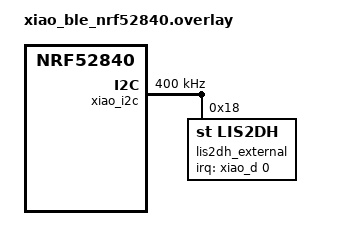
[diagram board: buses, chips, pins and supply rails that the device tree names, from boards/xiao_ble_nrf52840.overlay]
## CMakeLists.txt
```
# Copyright The Zephyr Project Contributors
# SPDX-License-Identifier: Apache-2.0

cmake_minimum_required(VERSION 3.28.0)

find_package(Zephyr REQUIRED HINTS "$ENV{ZEPHYR_BASE}")
project(lis2dh_fifo)

target_sources(app PRIVATE src/main.c)
```

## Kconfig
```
# Copyright The Zephyr Project Contributors
# SPDX-License-Identifier: Apache-2.0

source "Kconfig.zephyr"

menu "LIS2DH FIFO sample"

config LIS2DH_FIFO_HW_TEST
	bool "Enable the finite hardware FIFO self-test"
	help
	  Validate decoded frame counts and timestamp ordering while the sample
	  runs. The test prints PASS after ten valid FIFO batches.

endmenu
```

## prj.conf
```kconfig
# Copyright The Zephyr Project Contributors
# SPDX-License-Identifier: Apache-2.0

CONFIG_SENSOR=y
CONFIG_SENSOR_ASYNC_API=y
CONFIG_LIS2DH_STREAM=y
CONFIG_LIS2DH_TRIGGER_GLOBAL_THREAD=y
CONFIG_CONSOLE=y
CONFIG_PRINTK=y
CONFIG_CBPRINTF_FP_SUPPORT=y
# The HOLYIOT-25008 sample only uses LIS2DH. Its SoC has no nRF TEMP peripheral.
CONFIG_TEMP_NRF5=n
```

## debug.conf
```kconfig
# Copyright The Zephyr Project Contributors
# SPDX-License-Identifier: Apache-2.0

CONFIG_LOG=y
CONFIG_SENSOR_LOG_LEVEL_DBG=y
CONFIG_LOG_BUFFER_SIZE=4096
```

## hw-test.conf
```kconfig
# Copyright The Zephyr Project Contributors
# SPDX-License-Identifier: Apache-2.0

CONFIG_LIS2DH_FIFO_HW_TEST=y
# INT1 is routed to P2.00 on HOLYIOT-25008 and port P2 has no GPIOTE, so the
# FIFO has to be drained by polling instead of the INT1 interrupt.
CONFIG_LIS2DH_FIFO_POLL=y
CONFIG_LOG=y
CONFIG_SENSOR_LOG_LEVEL_DBG=y
CONFIG_LOG_BUFFER_SIZE=4096
```

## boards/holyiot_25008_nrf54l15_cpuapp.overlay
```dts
/*
 * Copyright The Zephyr Project Contributors
 *
 * SPDX-License-Identifier: Apache-2.0
 */

&lis2dh {
	fifo-watermark = <16>;
};
```

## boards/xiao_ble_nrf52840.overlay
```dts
/*
 * Copyright The Zephyr Project Contributors
 * SPDX-License-Identifier: Apache-2.0
 */

#include <zephyr/dt-bindings/i2c/i2c.h>

/ {
	aliases {
		accel0 = &lis2dh_external;
	};
};

/* External LIS2DH12: SDA=D4, SCL=D5, INT1=D0. */
&xiao_i2c {
	clock-frequency = <I2C_BITRATE_FAST>;

	lis2dh_external: accelerometer@18 {
		compatible = "st,lis2dh";
		reg = <0x18>;
		irq-gpios = <&xiao_d 0 GPIO_ACTIVE_HIGH>;
		fifo-watermark = <16>;
	};
};
```

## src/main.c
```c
/*
 * Copyright The Zephyr Project Contributors
 *
 * SPDX-License-Identifier: Apache-2.0
 */

#include <inttypes.h>
#include <stdio.h>

#include <zephyr/device.h>
#include <zephyr/drivers/sensor.h>
#include <zephyr/kernel.h>
#include <zephyr/rtio/rtio.h>

#define ACCEL_STREAM_TRIGGERS                                                                      \
	{SENSOR_TRIG_FIFO_WATERMARK, SENSOR_STREAM_DATA_INCLUDE},                                  \
	{                                                                                          \
		SENSOR_TRIG_FIFO_FULL, SENSOR_STREAM_DATA_INCLUDE                                  \
	}

SENSOR_DT_STREAM_IODEV(accel_stream, DT_ALIAS(accel0), ACCEL_STREAM_TRIGGERS);
RTIO_DEFINE_WITH_MEMPOOL(stream_ctx, 1, 1, 20, 256, sizeof(void *));

static const struct device *const accel = DEVICE_DT_GET(DT_ALIAS(accel0));

static bool print_fifo_samples(const uint8_t *buffer)
{
	const struct sensor_decoder_api *decoder;
	struct sensor_three_axis_data accel_data;
	struct sensor_chan_spec channel = {SENSOR_CHAN_ACCEL_XYZ, 0};
	uint16_t frame_count;
	uint32_t fit = 0U;
	int status;

	status = sensor_get_decoder(accel, &decoder);
	if (status < 0) {
		printf("Cannot get LIS2DH decoder: %d\n", status);
		return false;
	}

	status = decoder->get_frame_count(buffer, channel, &frame_count);
	if (status < 0) {
		printf("Cannot get FIFO frame count: %d\n", status);
		return false;
	}
	if (frame_count == 0U || frame_count > 32U) {
		printf("FIFO invalid frame count: %u\n", frame_count);
		return false;
	}

	while (fit < frame_count) {
		status = decoder->decode(buffer, channel, &fit, 1U, &accel_data);
		if (status < 0) {
			printf("Cannot decode FIFO frame: %d\n", status);
			return false;
		}
		if (IS_ENABLED(CONFIG_LIS2DH_FIFO_HW_TEST)) {
			static uint64_t last_timestamp;
			static bool have_timestamp;
			uint64_t timestamp = accel_data.header.base_timestamp_ns +
				accel_data.readings[0].timestamp_delta;

			if (have_timestamp && timestamp <= last_timestamp) {
				printf("FIFO timestamp is not increasing: %llu <= %llu\n",
				       (unsigned long long)timestamp,
				       (unsigned long long)last_timestamp);
				return false;
			}
			last_timestamp = timestamp;
			have_timestamp = true;
		}

		printf("%" PRIu64 " ns: (%" PRIq(6) ", %" PRIq(6) ", %" PRIq(6) ") m/s^2\n",
		       PRIsensor_three_axis_data_arg(accel_data, 0));
	}

	return true;
}

int main(void)
{
	struct rtio_sqe *handle;
	struct rtio_cqe *cqe;
	uint8_t *buffer = NULL;
	uint32_t buffer_len = 0U;
	int status;
	unsigned int batches = 0U;

	if (!device_is_ready(accel)) {
		printf("LIS2DH device is not ready\n");
		return 0;
	}

	status = sensor_stream(&accel_stream, &stream_ctx, NULL, &handle);
	if (status < 0) {
		printf("Cannot start LIS2DH FIFO stream: %d\n", status);
		return 0;
	}

	printf("LIS2DH Sensor Async FIFO stream started\n");

	while (true) {
		cqe = rtio_cqe_consume_block(&stream_ctx);
		status = cqe->result;
		if (status == 0) {
			status =
				rtio_cqe_get_mempool_buffer(&stream_ctx, cqe, &buffer, &buffer_len);
		}
		rtio_cqe_release(&stream_ctx, cqe);
		if (status < 0) {
			printf("FIFO stream failed: %d\n", status);
			return 0;
		}

		if (!print_fifo_samples(buffer)) {
			rtio_release_buffer(&stream_ctx, buffer, buffer_len);
			printf("FIFO HARDWARE TEST FAIL\n");
			return 0;
		}
		rtio_release_buffer(&stream_ctx, buffer, buffer_len);

		if (IS_ENABLED(CONFIG_LIS2DH_FIFO_HW_TEST) && ++batches == 10U) {
			printf("FIFO HARDWARE TEST PASS: 10 batches\n");
		}
	}
}
```
